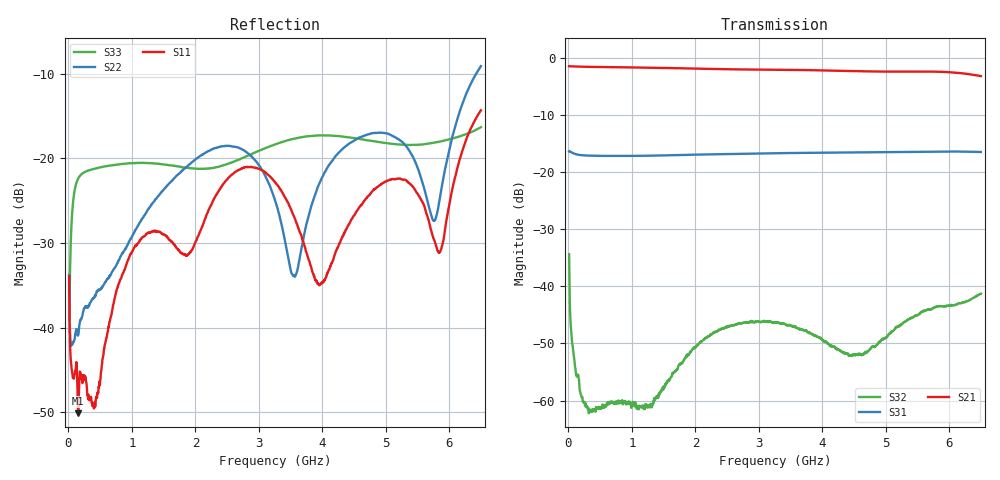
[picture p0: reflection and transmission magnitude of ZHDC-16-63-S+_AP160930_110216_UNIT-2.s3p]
!Mini-Circuits Laboratory
!S-Parameters
!MODEL: ZHDC-16-63-S+
!Run/Lot/Date Code:CE5190//1643
!DATA FOR:UNIT#1
!Fixture/SN/Due: N/A
!Connection:PORT-1 - pin<1>; PORT-2 - pin<2>; PORT-3- pin<3>
!Created: 11-02-2016 at 3:26 PM
# MHZ S DB R 50
!Frequency  S11 dB  S11 DEG  S12 dB  S12 DEG  S13 dB  S13 DEG
!  S21 dB  S21 DEG  S22 dB  S22 DEG  S23 dB  S23 DEG
!  S31 dB  S31 DEG  S32 dB  S32 DEG  S33 dB  S33 DEG
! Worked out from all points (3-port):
!   1299 points, 10 MHz to 6.5 GHz, reference 50 ohm
!   strongest paths, dB at 10 MHz, 1.63 GHz, 3.255 GHz, 4.88 GHz, 6.5 GHz:
!     S21: -1.4, -1.8, -2.1, -2.4, -3.2
!     S31: -16.3, -17.0, -16.7, -16.5, -16.5
!     S32: -34.4, -55.8, -46.4, -50.0, -41.3
!   lowest |S11| = -50.1 dB at 155 MHz (marker M1), VSWR 1.01, Z = 50.1 + j0.291 ohm
!   |S11| at or under -10 dB: start of sweep to end of sweep
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10  -33.91 98.2  -1.44 -2.9  -16.35 5.5
    -1.44 -2.9  -33.74 99.4  -34.40 -83.5
    -16.35 5.5  -34.38 -84.3  -35.40 140.0
155  -50.10 68.2  -1.52 -24.7  -16.96 -17.7
     -1.52 -24.7  -40.82 37.1  -55.33 -69.8
     -16.95 -17.7  -55.50 -77.2  -22.36 -178.9
1065  -30.27 48.5  -1.68 -166.8  -17.14 -107.9
      -1.68 -166.8  -28.33 -169.4  -56.56 -176.6
      -17.15 -107.9  -60.88 -175.3  -20.54 35.3
1725  -30.74 -79.5  -1.80 90.2  -17.02 -174.8
      -1.80 90.2  -21.92 99.7  -53.99 -14.2
      -17.01 -174.8  -54.33 -9.3  -20.94 -52.6
2375  -23.76 93.9  -1.95 -11.1  -16.86 118.6
      -1.95 -11.0  -18.66 26.7  -49.96 -147.2
      -16.86 118.5  -47.66 -147.7  -20.98 -146.4
3255  -22.80 -45.8  -2.05 -148.0  -16.70 26.8
      -2.06 -147.9  -24.98 -103.7  -46.24 51.6
      -16.69 26.8  -46.41 47.4  -18.36 100.0
3955  -34.99 -88.7  -2.17 102.2  -16.62 -47.0
      -2.17 102.2  -22.94 10.6  -46.93 -85.6
      -16.61 -47.1  -49.03 -72.1  -17.30 22.4
4545  -26.23 -122.4  -2.31 9.8  -16.55 -110.1
      -2.32 9.7  -17.71 -86.8  -49.47 -121.5
      -16.54 -110.1  -52.01 -137.7  -17.66 -45.7
5710  -28.31 29.1  -2.38 -174.8  -16.44 122.9
      -2.40 -174.8  -26.53 36.6  -42.37 64.8
      -16.41 122.8  -44.00 60.3  -18.22 151.0
6500  -14.32 136.6  -3.18 55.8  -16.46 32.3
      -3.18 55.8  -9.12 166.7  -42.43 -54.6
      -16.47 32.4  -41.27 -49.4  -16.32 24.7
